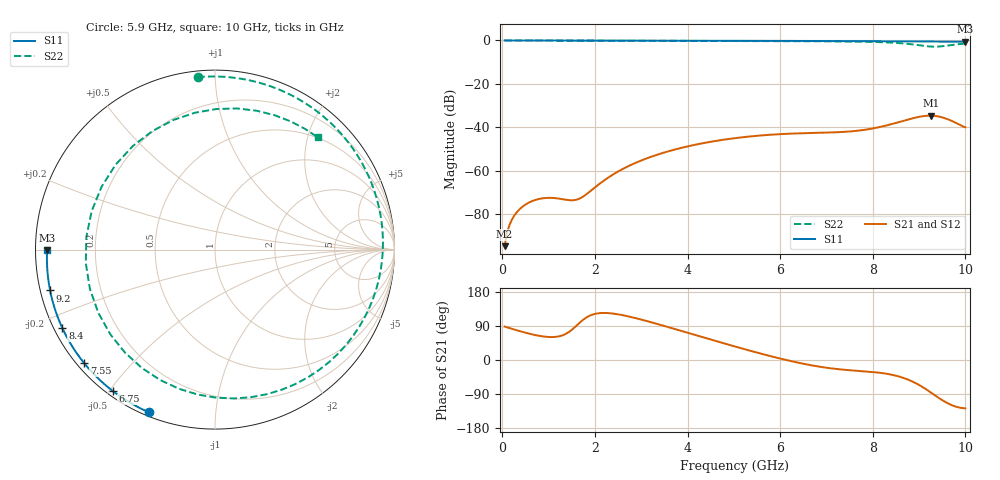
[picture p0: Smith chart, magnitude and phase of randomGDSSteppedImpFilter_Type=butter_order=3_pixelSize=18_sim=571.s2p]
! freq	dB(S11)	phase(S11)	dB(S12)	phase(S12)
!  dB(S21)	phase(S21)	dB(S22)	phase(S22)
!S-par simulation data
#  GHz  S  DB  R 50
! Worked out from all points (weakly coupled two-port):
!   200 points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, 50 MHz to 10 GHz, reference 50 ohm
!   highest |S21| = -34.59 dB at 9.25 GHz (marker M1); lowest = -94.7 dB at 50 MHz (marker M2)
!   lowest |S11| = -0.6 dB at 10 GHz (marker M3), VSWR 29.97, Z = 1.67 - j0.0732 ohm
!   |S11| at or under -10 dB: nowhere
!   |S22| runs from -2.9 to 0.0 dB; largest |S21 - S12| = 0
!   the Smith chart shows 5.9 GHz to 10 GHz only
!   S11 on the Smith chart (normalised r, x): 5.9 GHz: 0.02, -0.67; 6.75 GHz: 0.02, -0.51; 7.55 GHz: 0.02, -0.37; 8.4 GHz: 0.02, -0.24; 9.2 GHz: 0.03, -0.12; 10 GHz: 0.03, -0.00
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0.05  -0.00 -1.1  -94.65 88.1  -94.65 88.1  -0.00 -2.8
0.95  -0.03 -19.8  -72.46 61.2  -72.46 61.2  -0.06 -51.3
1.75  -0.05 -36.0  -71.77 106.5  -71.77 106.5  -0.11 -91.0
2.5  -0.06 -50.9  -60.31 120.5  -60.31 120.5  -0.14 -124.8
3.4  -0.09 -68.0  -52.19 93.3  -52.19 93.3  -0.17 -162.1
4.2  -0.12 -82.6  -47.83 64.8  -47.83 64.8  -0.21 166.1
5.05  -0.15 -97.6  -44.88 34.8  -44.88 34.8  -0.25 131.9
5.9  -0.19 -112.0  -43.23 6.8  -43.23 6.8  -0.30 95.8
6.7  -0.24 -125.1  -42.56 -14.6  -42.56 -14.6  -0.37 58.9
6.75  -0.25 -126.0  -42.54 -15.6  -42.54 -15.6  -0.37 56.5
7.55  -0.31 -139.0  -41.79 -27.5  -41.79 -27.5  -0.50 14.6
8  -0.35 -146.3  -40.49 -31.7  -40.49 -31.7  -0.67 -13.4
8.35  -0.38 -152.0  -38.81 -37.4  -38.81 -37.4  -0.93 -40.2
8.4  -0.39 -152.8  -38.53 -38.7  -38.53 -38.7  -0.99 -44.7
8.85  -0.44 -160.2  -35.88 -56.4  -35.88 -56.4  -1.79 -96.8
9  -0.45 -162.7  -35.14 -65.9  -35.14 -65.9  -2.21 -121.6
9.2  -0.48 -166.1  -34.61 -81.2  -34.61 -81.2  -2.73 -162.6
9.25  -0.48 -166.9  -34.59 -85.4  -34.59 -85.4  -2.81 -173.9
9.4  -0.50 -169.5  -34.90 -98.1  -34.90 -98.1  -2.82 151.0
9.6  -0.53 -172.9  -36.10 -113.1  -36.10 -113.1  -2.40 107.7
9.75  -0.55 -175.5  -37.45 -121.3  -37.45 -121.3  -1.98 81.1
10  -0.58 -179.8  -39.98 -127.8  -39.98 -127.8  -1.43 47.5
